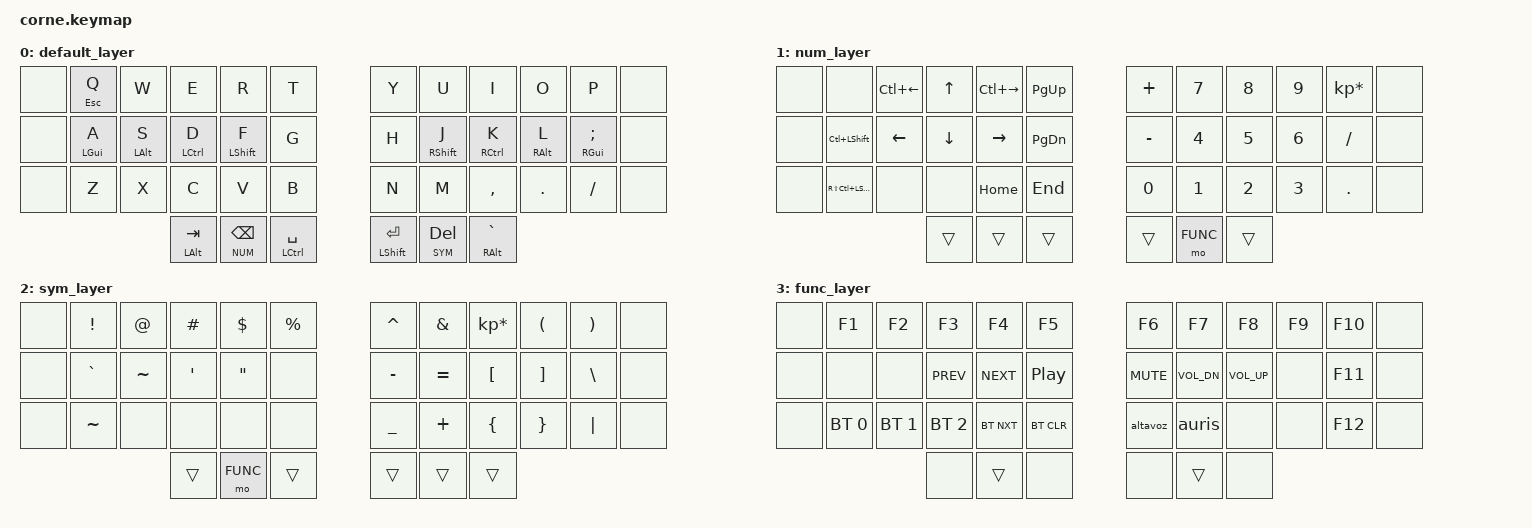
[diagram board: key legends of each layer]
/*
 * Copyright (c) 2020 The ZMK Contributors
 *
 * SPDX-License-Identifier: MIT
 */

#include <dt-bindings/zmk/keys.h>
#include <dt-bindings/zmk/bt.h>
#include <dt-bindings/zmk/ext_power.h>
#include <behaviors.dtsi>

// LAYERS
#define DEFAULT 0
#define NUM     1
#define SYM     2
#define FUNC    3

// MACROS
#define SUPER LC(LSHIFT)
#define SUPER2 RS(LC(LSHIFT))

/ {
  behaviors {
    hm: homerow_mods {
      compatible = "zmk,behavior-hold-tap";
      label = "HOMEROW_MODS";
      #binding-cells = <2>;
      tapping-term-ms = <200>;
      quick-tap-ms = <0>;
      flavor = "tap-preferred";
      bindings = <&kp>, <&kp>;
    };
  };

  macros { // Macros should be defined within a 'macros' block, not 'behaviors' if they are just macros and not custom behaviors.
      altavoz: altavoz_macro { // Give the macro a more descriptive label if needed.
        compatible = "zmk,behavior-macro";
        #binding-cells = <0>;
        bindings 
            = <&macro_press &kp LCTRL &kp LALT>
            , <&macro_tap &kp F1>
            , <&macro_release &kp LCTRL &kp LALT>;
      };
  
      auris: auris_macro { // Give the macro a more descriptive label if needed.
        compatible = "zmk,behavior-macro";
        #binding-cells = <0>;
        bindings 
            = <&macro_press &kp LCTRL &kp LALT>
            , <&macro_tap &kp F2>
            , <&macro_release &kp LCTRL &kp LALT>;
      };
    };

  keymap {
    compatible = "zmk,keymap";

    default_layer {
      bindings = <

&none   /**/  &hm ESC Q       &kp W       &kp E       &kp R           &kp T   /**/  &kp Y    &kp U           &kp I       &kp O       &kp P                      /**/  &none
&none   /**/  &hm LGUI A      &hm LALT S  &hm LCTRL D &hm LSHIFT F    &kp G   /**/  &kp H    &hm RSHIFT J    &hm RCTRL K &hm RALT L  &hm RGUI SEMICOLON         /**/  &none
&none   /**/  &kp Z           &kp X       &kp C       &kp V           &kp B   /**/  &kp N    &kp M           &kp COMMA   &kp DOT     &kp FSLH                   /**/  &none
              &hm LALT TAB  &lt NUM BSPC &hm LCTRL SPACE  /**/  &hm LSHIFT RET &lt SYM DEL &hm RALT GRAVE

      >;
    };

    num_layer {
      bindings = <

&none   /**/  &none         &kp LC(LEFT)  &kp UP        &kp LC(RIGHT) &kp PG_UP  /**/  &kp PLUS   &kp N7  &kp N8  &kp N9  &kp KP_MULTIPLY  /**/  &none
&none   /**/  &kp SUPER     &kp LEFT      &kp DOWN      &kp RIGHT     &kp PG_DN  /**/  &kp MINUS  &kp N4  &kp N5  &kp N6  &kp SLASH        /**/  &none
&none   /**/  &kp SUPER2    &none         &none         &kp HOME      &kp END    /**/  &kp N0     &kp N1  &kp N2  &kp N3  &kp DOT          /**/  &none
              &trans  &trans  &trans  /**/  &trans  &mo FUNC  &trans

      >;
    };

    sym_layer {
      bindings = <

&none   /**/  &kp EXCL    &kp AT         &kp HASH          &kp DLLR           &kp PRCNT   /**/  &kp CARET &kp AMPS  &kp KP_MULTIPLY &kp LPAR &kp RPAR  /**/  &none
&none   /**/  &kp GRAVE   &kp TILDE      &kp SINGLE_QUOTE  &kp DOUBLE_QUOTES  &none       /**/  &kp MINUS &kp EQUAL &kp LBKT        &kp RBKT &kp BSLH  /**/  &none
&none   /**/  &kp TILDE   &none          &none             &none              &none       /**/  &kp UNDER &kp PLUS  &kp LBRC        &kp RBRC &kp PIPE  /**/  &none
              &trans &mo FUNC &trans  /**/  &trans &trans &trans

      >;
    };

    func_layer {
      bindings = <

&none   /**/  &kp F1          &kp F2          &kp F3          &kp F4     &kp F5            /**/  &kp F6          &kp F7       &kp F8       &kp F9   &kp F10  /**/  &none
&none   /**/  &none           &none           &kp C_PREV      &kp C_NEXT &kp C_PLAY_PAUSE  /**/  &kp C_MUTE      &kp C_VOL_DN &kp C_VOL_UP &none    &kp F11  /**/  &none
&none   /**/  &bt BT_SEL 0    &bt BT_SEL 1    &bt BT_SEL 2    &bt BT_NXT &bt BT_CLR        /**/  &altavoz  &auris        &none        &none    &kp F12  /**/  &none
              &none &trans &none  /**/  &none &trans &none

      >;
    };
  };
};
